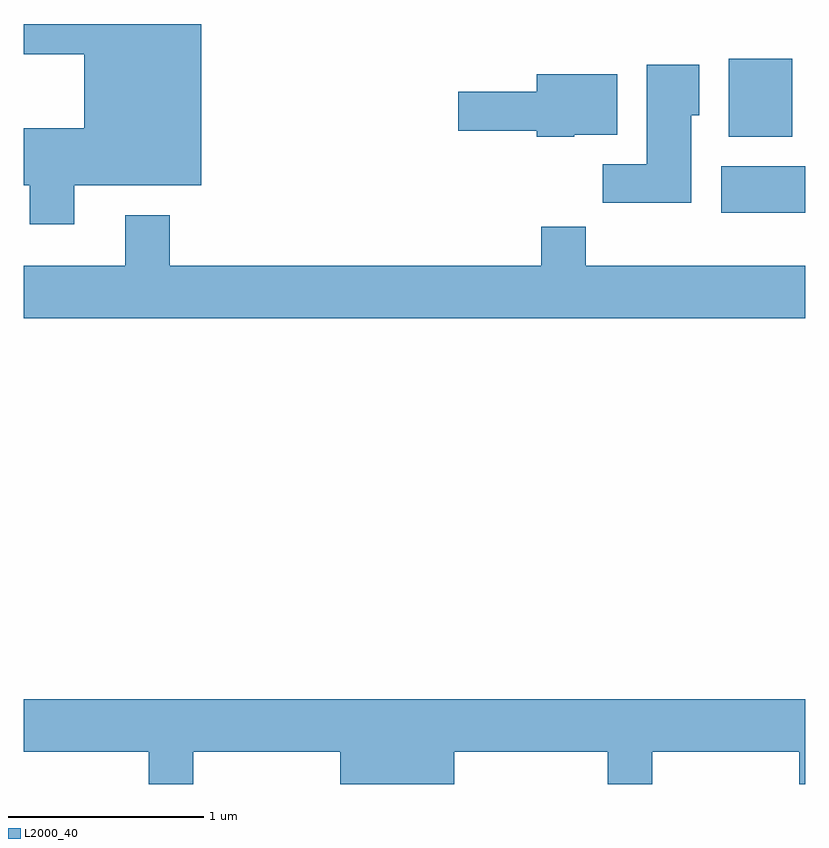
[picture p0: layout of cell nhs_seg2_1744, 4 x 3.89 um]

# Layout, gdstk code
import gdstk
lib = gdstk.Library(unit=1e-6, precision=1e-09)
def R(c, l, rs):  # rectangles x0, y0, x1, y1
    for r in rs: c.add(gdstk.rectangle(r[:2], r[2:], *l))
def P(c, l, *ps):  # polygons
    for p in ps: c.add(gdstk.Polygon(p, *l))
L2000_40 = (2000, 40)

nhs_seg2_1744 = lib.new_cell('nhs_seg2_1744')
R(nhs_seg2_1744, L2000_40, [(239.181,1068.836,239.611,1069.074), (239.221,1069.226,239.544,1069.624)])
P(nhs_seg2_1744, L2000_40, [(235.869,1068.976),(236.519,1068.976),(236.519,1069.802),(235.611,1069.802),(235.611,1069.646),(235.921,1069.646),(235.921,1069.269),(235.611,1069.269),(235.611,1068.976),(235.641,1068.976),(235.641,1068.776),(235.869,1068.776)],
  [(239.029,1069.336),(239.069,1069.336),(239.069,1069.594),(238.801,1069.594),(238.801,1069.084),(238.576,1069.084),(238.576,1068.886),(239.029,1068.886)],
  [(238.43,1069.236),(238.649,1069.236),(238.649,1069.544),(238.236,1069.544),(238.236,1069.454),(237.836,1069.454),(237.836,1069.256),(238.236,1069.256),(238.236,1069.226),(238.43,1069.226)],
  [(239.611,1068.564),(238.489,1068.564),(238.489,1068.764),(238.261,1068.764),(238.261,1068.564),(236.359,1068.564),(236.359,1068.824),(236.131,1068.824),(236.131,1068.564),(235.611,1068.564),(235.611,1068.296),(239.611,1068.296)],
  [(236.479,1066.076),(237.231,1066.076),(237.231,1065.911),(237.814,1065.911),(237.814,1066.076),(238.601,1066.076),(238.601,1065.911),(238.829,1065.911),(238.829,1066.076),(239.581,1066.076),(239.581,1065.911),(239.611,1065.911),(239.611,1066.344),(235.611,1066.344),(235.611,1066.076),(236.251,1066.076),(236.251,1065.911),(236.479,1065.911)])

lib.write_gds('nhs_seg2_1744.gds')
